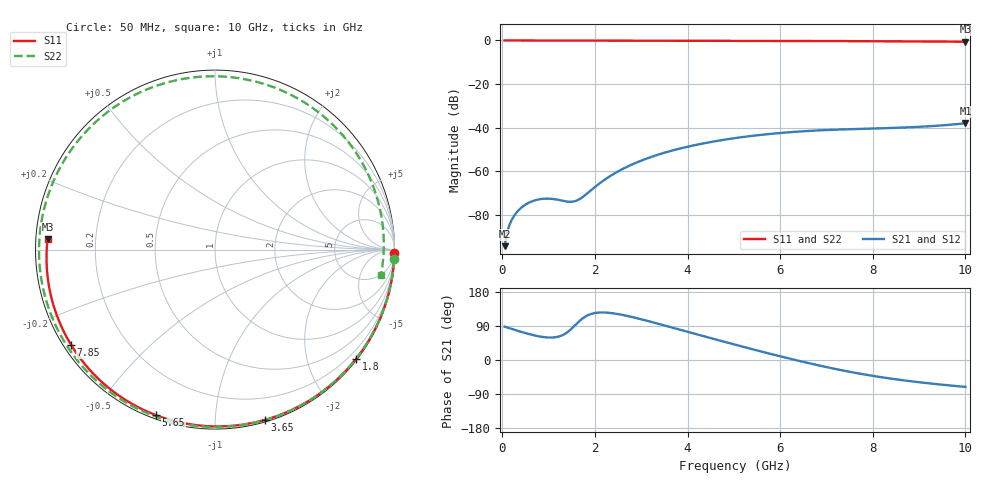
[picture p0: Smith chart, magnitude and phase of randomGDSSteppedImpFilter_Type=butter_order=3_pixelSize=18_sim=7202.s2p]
! freq	dB(S11)	phase(S11)	dB(S12)	phase(S12)
!  dB(S21)	phase(S21)	dB(S22)	phase(S22)
!S-par simulation data
#  GHz  S  DB  R 50
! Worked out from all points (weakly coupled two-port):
!   200 points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, 50 MHz to 10 GHz, reference 50 ohm
!   highest |S21| = -37.92 dB at 10 GHz (marker M1); lowest = -94.2 dB at 50 MHz (marker M2)
!   lowest |S11| = -0.6 dB at 10 GHz (marker M3), VSWR 29.69, Z = 1.69 + j1.53 ohm
!   |S11| at or under -10 dB: nowhere
!   |S22| runs from -0.6 to 0.0 dB; largest |S21 - S12| = 0
!   S11 on the Smith chart (normalised r, x): 50 MHz: open; 1.8 GHz: 0.03, -2.94; 3.65 GHz: 0.02, -1.33; 5.65 GHz: 0.02, -0.71; 7.85 GHz: 0.02, -0.30; 10 GHz: 0.03, +0.03
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0.05  -0.00 -1.1  -94.22 88.0  -94.22 88.0  -0.00 -3.0
0.25  -0.01 -5.3  -80.47 80.2  -80.47 80.2  -0.02 -14.9
0.55  -0.01 -11.7  -74.57 69.3  -74.57 69.3  -0.04 -32.5
0.95  -0.03 -20.1  -72.45 59.7  -72.45 59.7  -0.07 -54.9
1.5  -0.04 -31.5  -73.88 83.0  -73.88 83.0  -0.09 -83.3
1.75  -0.05 -36.6  -71.47 111.1  -71.47 111.1  -0.10 -95.1
1.8  -0.05 -37.6  -70.64 115.1  -70.64 115.1  -0.11 -97.4
2.15  -0.06 -44.7  -64.69 125.5  -64.69 125.5  -0.12 -112.7
2.5  -0.07 -51.6  -59.98 121.1  -59.98 121.1  -0.13 -127.0
2.95  -0.08 -60.4  -55.45 109.1  -55.45 109.1  -0.14 -143.9
3.4  -0.09 -69.1  -52.06 94.6  -52.06 94.6  -0.15 -159.8
3.65  -0.10 -73.8  -50.52 86.2  -50.52 86.2  -0.16 -168.2
4.35  -0.12 -86.7  -47.12 62.7  -47.12 62.7  -0.18 169.4
5.05  -0.15 -99.1  -44.64 39.7  -44.64 39.7  -0.21 147.7
5.65  -0.18 -109.5  -43.09 20.6  -43.09 20.6  -0.24 129.3
6.2  -0.21 -118.9  -42.03 3.8  -42.03 3.8  -0.27 112.3
6.7  -0.25 -127.3  -41.34 -10.6  -41.34 -10.6  -0.29 96.6
7.25  -0.29 -136.5  -40.82 -25.1  -40.82 -25.1  -0.32 79.1
7.85  -0.34 -146.5  -40.44 -38.8  -40.44 -38.8  -0.36 59.7
8.35  -0.39 -154.8  -40.12 -48.4  -40.12 -48.4  -0.39 43.5
9.2  -0.48 -169.3  -39.33 -61.4  -39.33 -61.4  -0.47 16.1
10  -0.59 176.5  -37.92 -71.0  -37.92 -71.0  -0.58 -8.7
